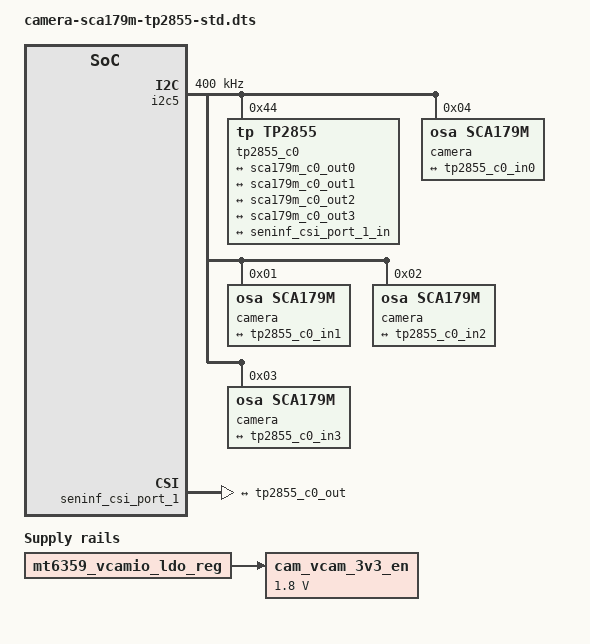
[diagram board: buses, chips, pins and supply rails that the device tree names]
// SPDX-License-Identifier: GPL-2.0
/*
 * Copyright (c) 2024 MediaTek Inc.
 *
 */

#include <dt-bindings/clock/mediatek,mt8188-clk.h>
#include <dt-bindings/gpio/gpio.h>
#include <dt-bindings/pinctrl/mediatek,mt8188-pinfunc.h>

/dts-v1/;
/plugin/;

#include "isp71.dtsi"

/ {
	fragment@4 {
		target-path = "/";
		__overlay__ {
			cam_vcam_3v3_en: cam-vcam-3v3-en-regulator {
				compatible = "regulator-fixed";
				regulator-name = "cam_vcam_3v3_en";
				regulator-min-microvolt = <1800000>;
				regulator-max-microvolt = <1800000>;
				vin-supply = <&mt6359_vcamio_ldo_reg>;
				enable-active-high;
				regulator-always-on;
			};
		};
	};
	
	fragment@5 {
		target = <&i2c5>;
		__overlay__ {
			clock-frequency = <400000>;

			tp2855_c0: tp2855_c0@44 {
				compatible = "tp,tp2855";
				reg = <0x44>;
				
				ports {
					#address-cells = <1>;
					#size-cells = <0>;

					port@0 {
						reg = <0>;

						tp2855_c0_in0: endpoint {
							remote-endpoint = <&sca179m_c0_out0>;
						};
					};

					port@1 {
						reg = <1>;

						tp2855_c0_in1: endpoint {
							remote-endpoint = <&sca179m_c0_out1>;
						};
					};

					port@2 {
						reg = <2>;

						tp2855_c0_in2: endpoint {
							remote-endpoint = <&sca179m_c0_out2>;
						};
					};

					port@3 {
						reg = <3>;

						tp2855_c0_in3: endpoint {
							remote-endpoint = <&sca179m_c0_out3>;
						};
					};

					port@4 {
						reg = <4>;

						tp2855_c0_out: endpoint {
							data-lanes = <1 2 3 4>;
							remote-endpoint = <&seninf_csi_port_1_in>;
						};
					};
				};
			};
			
			camera@4 {
				compatible = "osa,sca179m";
				reg = <4>;

				port {
					sca179m_c0_out0: endpoint {
						remote-endpoint = <&tp2855_c0_in0>;
					};
				};
			};

			camera@1 {
				compatible = "osa,sca179m";
				reg = <1>;

				port {
					sca179m_c0_out1: endpoint {
						remote-endpoint = <&tp2855_c0_in1>;
					};
				};
			};
	
			camera@2 {
				compatible = "osa,sca179m";
				reg = <2>;

				port {
					sca179m_c0_out2: endpoint {
						remote-endpoint = <&tp2855_c0_in2>;
					};
				};
			};

			camera@3 {
				compatible = "osa,sca179m";
				reg = <3>;

				port {
					sca179m_c0_out3: endpoint {
						remote-endpoint = <&tp2855_c0_in3>;
					};
				};
			};
		};
	};

	fragment@6 {
		target = <&seninf_top>;
		__overlay__ {
			seninf_csi_port_1: seninf_csi_port_1 {
				compatible = "mediatek,seninf";
				csi-port = "1";
				settle_delay_ck = <0x00>;
				dphy_settle_delay_dt = <0x10>;
				hs_trail_parameter = <0x08>;

				ports {
					port@1 {
						seninf_csi_port_1_in: endpoint {
							remote-endpoint = <&tp2855_c0_out>;
							data-lanes = <1 2 3 4>;
						};
					};
				};
			};
		};
	};
};
